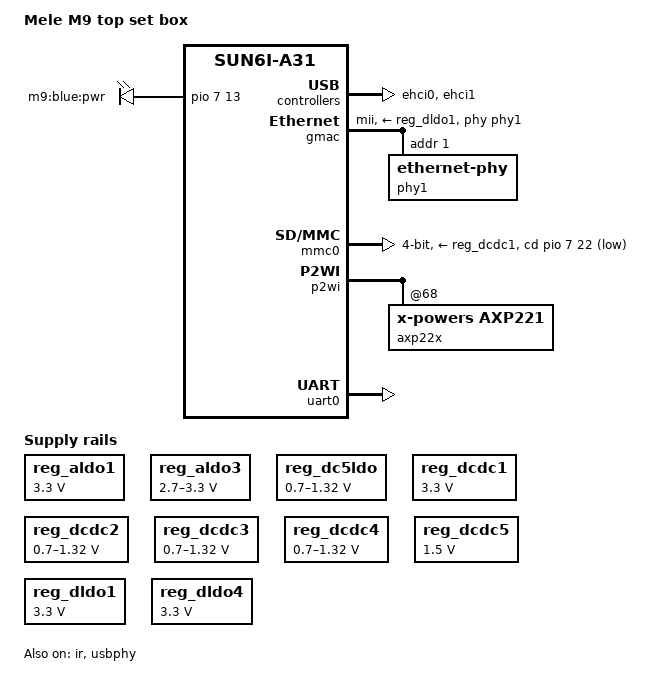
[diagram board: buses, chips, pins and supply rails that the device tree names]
/*
 * Copyright 2014 Hans de Goede <hdegoede@redhat.com>
 *
 * This file is dual-licensed: you can use it either under the terms
 * of the GPL or the X11 license, at your option. Note that this dual
 * licensing only applies to this file, and not this project as a
 * whole.
 *
 *  a) This file is free software; you can redistribute it and/or
 *     modify it under the terms of the GNU General Public License as
 *     published by the Free Software Foundation; either version 2 of the
 *     License, or (at your option) any later version.
 *
 *     This file is distributed in the hope that it will be useful,
 *     but WITHOUT ANY WARRANTY; without even the implied warranty of
 *     MERCHANTABILITY or FITNESS FOR A PARTICULAR PURPOSE.  See the
 *     GNU General Public License for more details.
 *
 * Or, alternatively,
 *
 *  b) Permission is hereby granted, free of charge, to any person
 *     obtaining a copy of this software and associated documentation
 *     files (the "Software"), to deal in the Software without
 *     restriction, including without limitation the rights to use,
 *     copy, modify, merge, publish, distribute, sublicense, and/or
 *     sell copies of the Software, and to permit persons to whom the
 *     Software is furnished to do so, subject to the following
 *     conditions:
 *
 *     The above copyright notice and this permission notice shall be
 *     included in all copies or substantial portions of the Software.
 *
 *     THE SOFTWARE IS PROVIDED "AS IS", WITHOUT WARRANTY OF ANY KIND,
 *     EXPRESS OR IMPLIED, INCLUDING BUT NOT LIMITED TO THE WARRANTIES
 *     OF MERCHANTABILITY, FITNESS FOR A PARTICULAR PURPOSE AND
 *     NONINFRINGEMENT. IN NO EVENT SHALL THE AUTHORS OR COPYRIGHT
 *     HOLDERS BE LIABLE FOR ANY CLAIM, DAMAGES OR OTHER LIABILITY,
 *     WHETHER IN AN ACTION OF CONTRACT, TORT OR OTHERWISE, ARISING
 *     FROM, OUT OF OR IN CONNECTION WITH THE SOFTWARE OR THE USE OR
 *     OTHER DEALINGS IN THE SOFTWARE.
 */

/dts-v1/;
#include "sun6i-a31.dtsi"
#include "sunxi-common-regulators.dtsi"

#include <dt-bindings/gpio/gpio.h>

/ {
	model = "Mele M9 top set box";
	compatible = "mele,m9", "allwinner,sun6i-a31";

	aliases {
		serial0 = &uart0;
	};

	chosen {
		stdout-path = "serial0:115200n8";
	};

	leds {
		compatible = "gpio-leds";

		blue {
			label = "m9:blue:pwr";
			gpios = <&pio 7 13 GPIO_ACTIVE_HIGH>;
			default-state = "on";
		};
	};
};

&cpu0 {
	cpu-supply = <&reg_dcdc3>;
};

&ehci0 {
	status = "okay";
};

&ehci1 {
	status = "okay";
};

&gmac {
	pinctrl-names = "default";
	pinctrl-0 = <&gmac_mii_pins>;
	phy = <&phy1>;
	phy-mode = "mii";
	phy-supply = <&reg_dldo1>;
	status = "okay";

	phy1: ethernet-phy@1 {
		reg = <1>;
	};
};

&ir {
	pinctrl-names = "default";
	pinctrl-0 = <&s_ir_rx_pin>;
	status = "okay";
};

&mmc0 {
	vmmc-supply = <&reg_dcdc1>;
	bus-width = <4>;
	cd-gpios = <&pio 7 22 GPIO_ACTIVE_LOW>; /* PH22 */
	status = "okay";
};

&p2wi {
	status = "okay";

	axp22x: pmic@68 {
		compatible = "x-powers,axp221";
		reg = <0x68>;
		interrupt-parent = <&nmi_intc>;
		interrupts = <0 IRQ_TYPE_LEVEL_LOW>;
	};
};

#include "axp22x.dtsi"

&reg_aldo1 {
	regulator-min-microvolt = <3300000>;
	regulator-max-microvolt = <3300000>;
	regulator-name = "vcc-wifi";
};

&reg_aldo3 {
	regulator-always-on;
	regulator-min-microvolt = <2700000>;
	regulator-max-microvolt = <3300000>;
	regulator-name = "avcc";
};

&reg_dc5ldo {
	regulator-always-on;
	regulator-min-microvolt = <700000>;
	regulator-max-microvolt = <1320000>;
	regulator-name = "vdd-cpus"; /* This is an educated guess */
};

&reg_dcdc1 {
	regulator-always-on;
	regulator-min-microvolt = <3300000>;
	regulator-max-microvolt = <3300000>;
	regulator-name = "vcc-3v3";
};

&reg_dcdc2 {
	regulator-min-microvolt = <700000>;
	regulator-max-microvolt = <1320000>;
	regulator-name = "vdd-gpu";
};

&reg_dcdc3 {
	regulator-always-on;
	regulator-min-microvolt = <700000>;
	regulator-max-microvolt = <1320000>;
	regulator-name = "vdd-cpu";
};

&reg_dcdc4 {
	regulator-always-on;
	regulator-min-microvolt = <700000>;
	regulator-max-microvolt = <1320000>;
	regulator-name = "vdd-sys-dll";
};

&reg_dcdc5 {
	regulator-always-on;
	regulator-min-microvolt = <1500000>;
	regulator-max-microvolt = <1500000>;
	regulator-name = "vcc-dram";
};

&reg_dldo1 {
	regulator-min-microvolt = <3300000>;
	regulator-max-microvolt = <3300000>;
	regulator-name = "vcc-ethernet-phy";
};

/*
 * Both reg_usb1_vbus and reg_dldo4 need to be on for the hub attached
 * to usb1 to work, and we can list only one usb1_vbus-supply, so dldo4 is
 * marked as regulator-always-on.
 */
&reg_dldo4 {
	regulator-always-on;
	regulator-min-microvolt = <3300000>;
	regulator-max-microvolt = <3300000>;
	regulator-name = "vcc-usb-hub";
};

&reg_usb1_vbus {
	gpio = <&pio 2 27 GPIO_ACTIVE_HIGH>;
	status = "okay";
};

&uart0 {
	pinctrl-names = "default";
	pinctrl-0 = <&uart0_ph_pins>;
	status = "okay";
};

&usbphy {
	usb1_vbus-supply = <&reg_usb1_vbus>;
	usb2_vbus-supply = <&reg_aldo1>;
	status = "okay";
};
